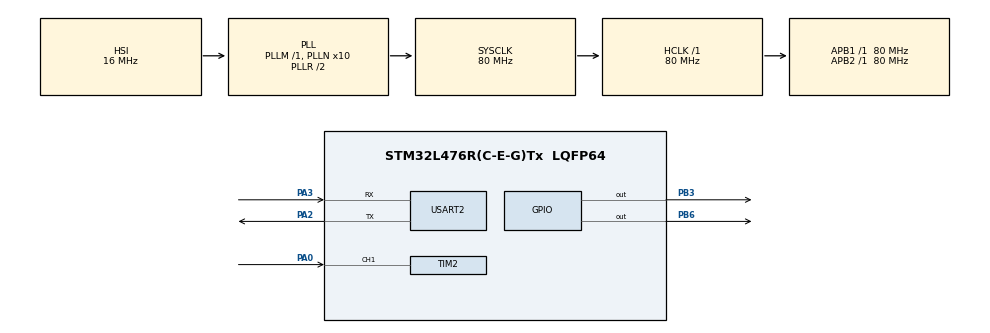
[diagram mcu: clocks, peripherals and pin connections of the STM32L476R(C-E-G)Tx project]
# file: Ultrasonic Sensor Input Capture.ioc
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Mcu.Family=STM32L4
Mcu.Name=STM32L476R(C-E-G)Tx
Mcu.Package=LQFP64
NVIC.PriorityGroup=NVIC_PRIORITYGROUP_4
NVIC.TIM2_IRQn=true\:0\:0\:false\:false\:true\:true\:true\:true
NVIC.USART2_IRQn=true\:0\:0\:false\:false\:true\:true\:true\:true
PA0.Signal=S_TIM2_CH1
PA2.Mode=Asynchronous
PA2.Signal=USART2_TX
PA3.Mode=Asynchronous
PA3.Signal=USART2_RX
PB3\ (JTDO-TRACESWO).Signal=GPIO_Output
PB6.Signal=GPIO_Output
ProjectManager.HeapSize=0x200
ProjectManager.StackSize=0x400
ProjectManager.TargetToolchain=STM32CubeIDE
RCC.ADCFreq_Value=64000000
RCC.AHBFreq_Value=80000000
RCC.APB1Freq_Value=80000000
RCC.APB1TimFreq_Value=80000000
RCC.APB2Freq_Value=80000000
RCC.APB2TimFreq_Value=80000000
RCC.CortexFreq_Value=80000000
RCC.HCLKFreq_Value=80000000
RCC.HSE_VALUE=8000000
RCC.HSI_VALUE=16000000
RCC.MSI_VALUE=4000000
RCC.PLLN=10
RCC.PLLSourceVirtual=RCC_PLLSOURCE_HSI
RCC.PREFETCH_ENABLE=1
RCC.SYSCLKFreq_VALUE=80000000
RCC.SYSCLKSource=RCC_SYSCLKSOURCE_PLLCLK
RCC.USBFreq_Value=64000000
RCC.VCOOutputFreq_Value=160000000
SH.S_TIM2_CH1.0=TIM2_CH1,Input_Capture1_from_TI1
TIM2.Channel-Input_Capture1_from_TI1=TIM_CHANNEL_1
TIM6.Prescaler=79
USART2.VirtualMode-Asynchronous=VM_ASYNC
VP_TIM2_VS_ClockSourceINT.Mode=Internal
VP_TIM6_VS_ClockSourceINT.Mode=Enable_Timer
board=NUCLEO-L476RG

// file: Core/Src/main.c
/* USER CODE BEGIN Header */
/**
  ******************************************************************************
  * @file           : main.c
  * @brief          : Main program body
  ******************************************************************************
  * @attention
  *
  * Copyright (c) 2026 STMicroelectronics.
  * All rights reserved.
  *
  * This software is licensed under terms that can be found in the LICENSE file
  * in the root directory of this software component.
  * If no LICENSE file comes with this software, it is provided AS-IS.
  *
  ******************************************************************************
  */
/* USER CODE END Header */
#include "main.h"

/* USER CODE BEGIN Includes */
#include <stdio.h>

/* USER CODE END Includes */

TIM_HandleTypeDef htim2;
TIM_HandleTypeDef htim6;

UART_HandleTypeDef huart2;

/* USER CODE BEGIN PV */

volatile uint8_t firstEdgeCapatured = 0;
volatile uint8_t measurementReady = 0;

uint32_t IC_Value1;
uint32_t IC_Value2;

uint32_t time;
float distance;

char msg[64];

/* USER CODE END PV */

void SystemClock_Config(void);
static void MX_GPIO_Init(void);
static void MX_USART2_UART_Init(void);
static void MX_TIM2_Init(void);
static void MX_TIM6_Init(void);
/* USER CODE BEGIN PFP */

void delay_us(uint16_t us);

/* USER CODE END PFP */

int main(void)
{

  /* MCU Configuration--------------------------------------------------------*/

  /* Reset of all peripherals, Initializes the Flash interface and the Systick. */
  HAL_Init();

  /* Configure the system clock */
  SystemClock_Config();

  /* Initialize all configured peripherals */
  MX_GPIO_Init();
  MX_USART2_UART_Init();
  MX_TIM2_Init();
  MX_TIM6_Init();
  /* USER CODE BEGIN 2 */

  HAL_TIM_Base_Start(&htim6);

  HAL_TIM_IC_Start_IT(&htim2, TIM_CHANNEL_1);

  /* USER CODE END 2 */

  /* Infinite loop */
  while (1)
  {

    /* USER CODE BEGIN 3 */

	  HAL_GPIO_WritePin(GPIOB, GPIO_PIN_3, GPIO_PIN_RESET);
	  delay_us(2);

	  HAL_GPIO_WritePin(GPIOB, GPIO_PIN_3, GPIO_PIN_SET);
	  delay_us(10);

	  HAL_GPIO_WritePin(GPIOB, GPIO_PIN_3, GPIO_PIN_RESET);

	  if(measurementReady){
		  measurementReady = 0;

		  time = IC_Value2 - IC_Value1;

		  distance = time / 58;

		  int len = snprintf(msg, sizeof(msg), "This is the distance: %0.2lf", distance);

		  HAL_UART_Transmit(&huart2, (uint8_t *)msg, len, HAL_MAX_DELAY);

		  HAL_Delay(500);
	  }

  }
  /* USER CODE END 3 */
}

void SystemClock_Config(void)
{
  RCC_OscInitTypeDef RCC_OscInitStruct = {0};
  RCC_ClkInitTypeDef RCC_ClkInitStruct = {0};

  /** Configure the main internal regulator output voltage
  */
  if (HAL_PWREx_ControlVoltageScaling(PWR_REGULATOR_VOLTAGE_SCALE1) != HAL_OK)
  {
    Error_Handler();
  }

  /** Initializes the RCC Oscillators according to the specified parameters
  * in the RCC_OscInitTypeDef structure.
  */
  RCC_OscInitStruct.OscillatorType = RCC_OSCILLATORTYPE_HSI;
  RCC_OscInitStruct.HSIState = RCC_HSI_ON;
  RCC_OscInitStruct.HSICalibrationValue = RCC_HSICALIBRATION_DEFAULT;
  RCC_OscInitStruct.PLL.PLLState = RCC_PLL_ON;
  RCC_OscInitStruct.PLL.PLLSource = RCC_PLLSOURCE_HSI;
  RCC_OscInitStruct.PLL.PLLM = 1;
  RCC_OscInitStruct.PLL.PLLN = 10;
  RCC_OscInitStruct.PLL.PLLP = RCC_PLLP_DIV7;
  RCC_OscInitStruct.PLL.PLLQ = RCC_PLLQ_DIV2;
  RCC_OscInitStruct.PLL.PLLR = RCC_PLLR_DIV2;
  if (HAL_RCC_OscConfig(&RCC_OscInitStruct) != HAL_OK)
  {
    Error_Handler();
  }

  /** Initializes the CPU, AHB and APB buses clocks
  */
  RCC_ClkInitStruct.ClockType = RCC_CLOCKTYPE_HCLK|RCC_CLOCKTYPE_SYSCLK
                              |RCC_CLOCKTYPE_PCLK1|RCC_CLOCKTYPE_PCLK2;
  RCC_ClkInitStruct.SYSCLKSource = RCC_SYSCLKSOURCE_PLLCLK;
  RCC_ClkInitStruct.AHBCLKDivider = RCC_SYSCLK_DIV1;
  RCC_ClkInitStruct.APB1CLKDivider = RCC_HCLK_DIV1;
  RCC_ClkInitStruct.APB2CLKDivider = RCC_HCLK_DIV1;

  if (HAL_RCC_ClockConfig(&RCC_ClkInitStruct, FLASH_LATENCY_4) != HAL_OK)
  {
    Error_Handler();
  }
}

static void MX_TIM2_Init(void)
{

  TIM_ClockConfigTypeDef sClockSourceConfig = {0};
  TIM_MasterConfigTypeDef sMasterConfig = {0};
  TIM_IC_InitTypeDef sConfigIC = {0};

  htim2.Instance = TIM2;
  htim2.Init.Prescaler = 79;
  htim2.Init.CounterMode = TIM_COUNTERMODE_UP;
  htim2.Init.Period = 4294967295;
  htim2.Init.ClockDivision = TIM_CLOCKDIVISION_DIV1;
  htim2.Init.AutoReloadPreload = TIM_AUTORELOAD_PRELOAD_DISABLE;
  if (HAL_TIM_Base_Init(&htim2) != HAL_OK)
  {
    Error_Handler();
  }
  sClockSourceConfig.ClockSource = TIM_CLOCKSOURCE_INTERNAL;
  if (HAL_TIM_ConfigClockSource(&htim2, &sClockSourceConfig) != HAL_OK)
  {
    Error_Handler();
  }
  if (HAL_TIM_IC_Init(&htim2) != HAL_OK)
  {
    Error_Handler();
  }
  sMasterConfig.MasterOutputTrigger = TIM_TRGO_RESET;
  sMasterConfig.MasterSlaveMode = TIM_MASTERSLAVEMODE_DISABLE;
  if (HAL_TIMEx_MasterConfigSynchronization(&htim2, &sMasterConfig) != HAL_OK)
  {
    Error_Handler();
  }
  sConfigIC.ICPolarity = TIM_INPUTCHANNELPOLARITY_RISING;
  sConfigIC.ICSelection = TIM_ICSELECTION_DIRECTTI;
  sConfigIC.ICPrescaler = TIM_ICPSC_DIV1;
  sConfigIC.ICFilter = 0;
  if (HAL_TIM_IC_ConfigChannel(&htim2, &sConfigIC, TIM_CHANNEL_1) != HAL_OK)
  {
    Error_Handler();
  }

}

static void MX_TIM6_Init(void)
{

  TIM_MasterConfigTypeDef sMasterConfig = {0};

  htim6.Instance = TIM6;
  htim6.Init.Prescaler = 79;
  htim6.Init.CounterMode = TIM_COUNTERMODE_UP;
  htim6.Init.Period = 65535;
  htim6.Init.AutoReloadPreload = TIM_AUTORELOAD_PRELOAD_DISABLE;
  if (HAL_TIM_Base_Init(&htim6) != HAL_OK)
  {
    Error_Handler();
  }
  sMasterConfig.MasterOutputTrigger = TIM_TRGO_RESET;
  sMasterConfig.MasterSlaveMode = TIM_MASTERSLAVEMODE_DISABLE;
  if (HAL_TIMEx_MasterConfigSynchronization(&htim6, &sMasterConfig) != HAL_OK)
  {
    Error_Handler();
  }

}

static void MX_USART2_UART_Init(void)
{

  huart2.Instance = USART2;
  huart2.Init.BaudRate = 115200;
  huart2.Init.WordLength = UART_WORDLENGTH_8B;
  huart2.Init.StopBits = UART_STOPBITS_1;
  huart2.Init.Parity = UART_PARITY_NONE;
  huart2.Init.Mode = UART_MODE_TX_RX;
  huart2.Init.HwFlowCtl = UART_HWCONTROL_NONE;
  huart2.Init.OverSampling = UART_OVERSAMPLING_16;
  huart2.Init.OneBitSampling = UART_ONE_BIT_SAMPLE_DISABLE;
  huart2.AdvancedInit.AdvFeatureInit = UART_ADVFEATURE_NO_INIT;
  if (HAL_UART_Init(&huart2) != HAL_OK)
  {
    Error_Handler();
  }

}

static void MX_GPIO_Init(void)
{
  GPIO_InitTypeDef GPIO_InitStruct = {0};

  /* GPIO Ports Clock Enable */
  __HAL_RCC_GPIOA_CLK_ENABLE();
  __HAL_RCC_GPIOB_CLK_ENABLE();

  /*Configure GPIO pin Output Level */
  HAL_GPIO_WritePin(GPIOB, GPIO_PIN_3|GPIO_PIN_6, GPIO_PIN_RESET);

  /*Configure GPIO pins : PB3 PB6 */
  GPIO_InitStruct.Pin = GPIO_PIN_3|GPIO_PIN_6;
  GPIO_InitStruct.Mode = GPIO_MODE_OUTPUT_PP;
  GPIO_InitStruct.Pull = GPIO_NOPULL;
  GPIO_InitStruct.Speed = GPIO_SPEED_FREQ_LOW;
  HAL_GPIO_Init(GPIOB, &GPIO_InitStruct);

}

/* USER CODE BEGIN 4 */

void delay_us(uint16_t us){
	__HAL_TIM_SET_COUNTER(&htim6, 0);
	while(__HAL_TIM_GET_COUNTER(&htim6) < us);

}

void HAL_TIM_IC_CaptureCallback(TIM_HandleTypeDef *htim)
{
  /* Prevent unused argument(s) compilation warning */
  UNUSED(htim);

  /* NOTE : This function should not be modified, when the callback is needed,
            the HAL_TIM_IC_CaptureCallback could be implemented in the user file
   */
  if(htim->Instance == TIM2 && htim->Channel == HAL_TIM_ACTIVE_CHANNEL_1){

	  HAL_GPIO_TogglePin(GPIOB, GPIO_PIN_6);
	  if(firstEdgeCapatured == 0){

		  IC_Value1 = HAL_TIM_ReadCapturedValue(&htim2, TIM_CHANNEL_1);

		  firstEdgeCapatured = 1;

		  __HAL_TIM_SET_CAPTUREPOLARITY(&htim2, TIM_CHANNEL_1, TIM_INPUTCHANNELPOLARITY_FALLING);
	  }

	  else{
		  IC_Value2 = HAL_TIM_ReadCapturedValue(&htim2, TIM_CHANNEL_1);

		  firstEdgeCapatured = 0;

		  measurementReady = 1;

		  __HAL_TIM_SET_CAPTUREPOLARITY(&htim2, TIM_CHANNEL_1, TIM_INPUTCHANNELPOLARITY_RISING);
	  }

  }
}

/* USER CODE END 4 */

void Error_Handler(void)
{
  __disable_irq();
  while (1)
  {
  }
}
